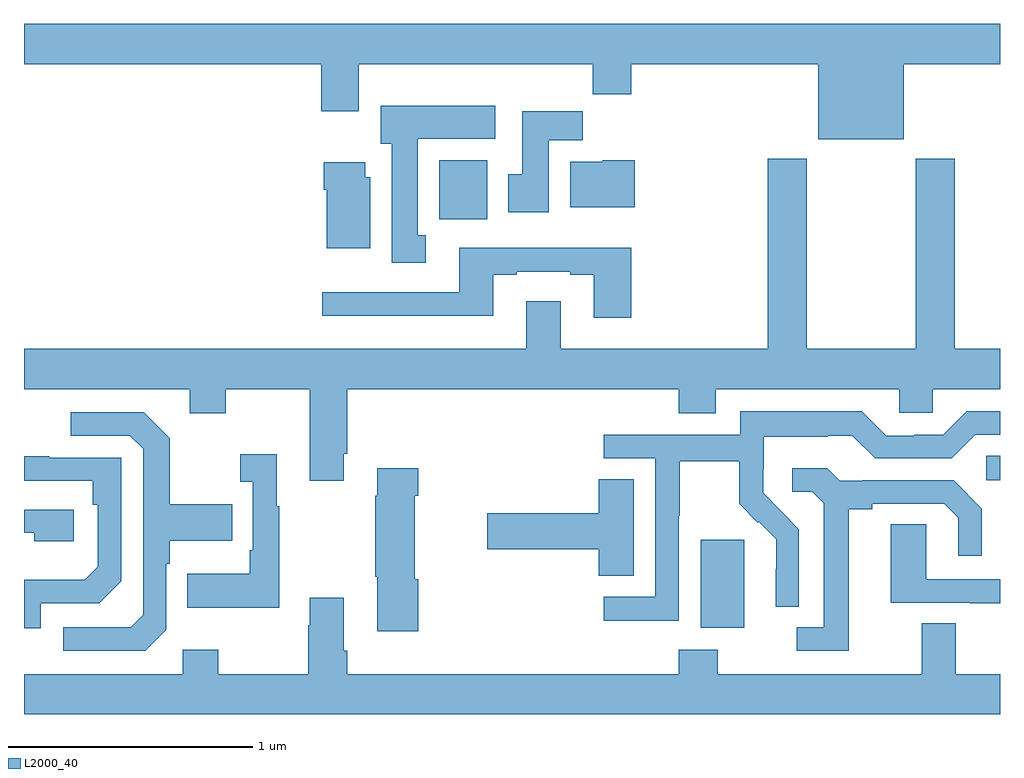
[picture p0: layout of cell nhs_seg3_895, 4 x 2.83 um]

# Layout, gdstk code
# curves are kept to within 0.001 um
import gdstk
lib = gdstk.Library(unit=1e-6, precision=1e-09)
def R(c, l, rs):  # rectangles x0, y0, x1, y1
    for r in rs: c.add(gdstk.rectangle(r[:2], r[2:], *l))
def P(c, l, *ps):  # polygons
    for p in ps: c.add(gdstk.Polygon(p, *l))
L2000_40 = (2000, 40)

nhs_seg3_895 = lib.new_cell('nhs_seg3_895')
R(nhs_seg3_895, L2000_40, [(159.773,705.266,159.952,705.627), (160.944,705.87,161,705.971), (158.702,706.94,158.899,707.182)])
P(nhs_seg3_895, L2000_40, [(160.606,707.576),(161,707.576),(161,707.74),(157,707.74),(157,707.576),(158.219,707.576),(158.219,707.382),(158.371,707.382),(158.371,707.576),(159.331,707.576),(159.331,707.452),(159.488,707.452),(159.488,707.576),(160.256,707.576),(160.256,707.267),(160.606,707.267)],
  [(158.647,706.874),(158.614,706.874),(158.614,707.27),(158.932,707.27),(158.932,707.404),(158.462,707.404),(158.462,707.25),(158.507,707.25),(158.507,706.761),(158.647,706.761)],
  [(159.151,707.264),(159.29,707.264),(159.29,707.383),(159.041,707.383),(159.041,707.124),(158.984,707.124),(158.984,706.968),(159.151,706.968)],
  [(158.311,705.979),(158.324,705.979),(158.324,706.244),(159.683,706.244),(159.683,706.145),(159.835,706.145),(159.835,706.244),(160.587,706.244),(160.587,706.146),(160.725,706.146),(160.725,706.244),(161,706.244),(161,706.408),(160.814,706.408),(160.814,707.188),(160.654,707.188),(160.654,706.408),(160.209,706.408),(160.209,707.188),(160.049,707.188),(160.049,706.408),(159.199,706.408),(159.199,706.603),(159.059,706.603),(159.059,706.408),(157,706.408),(157,706.244),(157.679,706.244),(157.679,706.145),(157.827,706.145),(157.827,706.244),(158.171,706.244),(158.171,705.867),(158.311,705.867)],
  [(159.503,707.182),(159.372,707.182),(159.372,707.176),(159.239,707.176),(159.239,706.988),(159.503,706.988)],
  [(158.419,707.112),(158.398,707.112),(158.398,707.173),(158.228,707.173),(158.228,707.06),(158.24,707.06),(158.24,706.82),(158.419,706.82)],
  [(159.488,706.822),(158.783,706.822),(158.783,706.641),(158.223,706.641),(158.223,706.544),(158.923,706.544),(158.923,706.713),(159.019,706.713),(159.019,706.725),(159.239,706.725),(159.239,706.713),(159.335,706.713),(159.335,706.536),(159.488,706.536)],
  [(159.684,705.724),(159.687,705.724),(159.687,705.948),(159.931,705.948),(159.931,705.773),(160.008,705.696),(160.011,705.699),(160.082,705.629),(160.082,705.506),(160.08,705.506),(160.08,705.352),(160.176,705.352),(160.176,705.67),(160.03,705.818),(160.03,705.915),(160.032,705.915),(160.032,706.049),(160.295,706.049),(160.295,706.053),(160.395,706.053),(160.488,705.96),(160.803,705.96),(160.899,706.056),(161,706.056),(161,706.152),(160.863,706.152),(160.767,706.056),(160.649,706.056),(160.649,706.053),(160.533,706.053),(160.433,706.153),(159.936,706.153),(159.936,706.056),(159.375,706.056),(159.375,705.96),(159.588,705.96),(159.588,705.393),(159.375,705.393),(159.375,705.295),(159.684,705.295)],
  [(157.584,705.258),(157.584,705.527),(157.597,705.527),(157.597,705.623),(157.853,705.623),(157.853,705.771),(157.597,705.771),(157.597,706.043),(157.491,706.149),(157.191,706.149),(157.191,706.053),(157.434,706.053),(157.488,705.999),(157.488,705.318),(157.437,705.267),(157.161,705.267),(157.161,705.171),(157.497,705.171)],
  [(158.047,705.763),(158.035,705.763),(158.035,705.976),(157.887,705.976),(157.887,705.863),(157.938,705.863),(157.938,705.583),(157.926,705.583),(157.926,705.487),(157.669,705.487),(157.669,705.347),(158.047,705.347)],
  [(157.068,705.366),(157.308,705.366),(157.398,705.456),(157.398,705.963),(157.103,705.963),(157.103,705.968),(157,705.968),(157,705.867),(157.282,705.867),(157.282,705.77),(157.302,705.77),(157.302,705.516),(157.249,705.463),(157,705.463),(157,705.264),(157.068,705.264)],
  [(158.615,705.464),(158.602,705.464),(158.602,705.806),(158.615,705.806),(158.615,705.919),(158.447,705.919),(158.447,705.806),(158.44,705.806),(158.44,705.475),(158.447,705.475),(158.447,705.252),(158.615,705.252)],
  [(160.381,705.752),(160.477,705.752),(160.477,705.774),(160.772,705.774),(160.829,705.717),(160.829,705.561),(160.926,705.561),(160.926,705.754),(160.81,705.87),(160.438,705.87),(160.438,705.867),(160.344,705.867),(160.292,705.919),(160.149,705.919),(160.149,705.822),(160.23,705.822),(160.277,705.775),(160.277,705.267),(160.167,705.267),(160.167,705.171),(160.381,705.171)],
  [(159.499,705.875),(159.356,705.875),(159.356,705.734),(158.898,705.734),(158.898,705.587),(159.356,705.587),(159.356,705.478),(159.499,705.478)],
  [(157.204,705.75),(157,705.75),(157,705.654),(157.043,705.654),(157.043,705.62),(157.204,705.62)],
  [(161,705.465),(160.698,705.465),(160.698,705.689),(160.553,705.689),(160.553,705.369),(160.877,705.369),(160.877,705.365),(161,705.365)],
  [(161,705.076),(160.819,705.076),(160.819,705.284),(160.679,705.284),(160.679,705.076),(159.843,705.076),(159.843,705.175),(159.683,705.175),(159.683,705.076),(158.324,705.076),(158.324,705.172),(158.311,705.172),(158.311,705.388),(158.171,705.388),(158.171,705.275),(158.164,705.275),(158.164,705.076),(157.797,705.076),(157.797,705.175),(157.65,705.175),(157.65,705.076),(157,705.076),(157,704.912),(161,704.912)])

lib.write_gds('nhs_seg3_895.gds')
